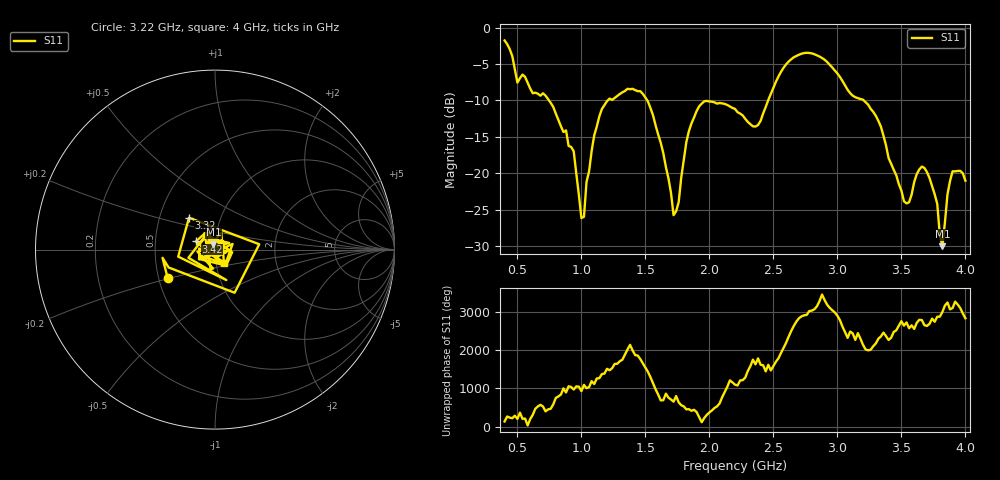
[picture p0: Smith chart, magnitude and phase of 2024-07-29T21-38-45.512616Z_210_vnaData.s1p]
!Created with skrf (http://scikit-rf.org).
# Hz S RI R 50.0
!freq ReS11 ImS11
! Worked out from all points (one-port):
!   181 points, 400 MHz to 4 GHz, reference 50 ohm
!   lowest |S11| = -30.0 dB at 3.82 GHz (marker M1), VSWR 1.07, Z = 49.1 + j2.98 ohm
!   |S11| at or under -10 dB: 747.2 MHz to 1.205 GHz (458.1 MHz wide, 46.9 % of centre); 1.515 GHz to 2.459 GHz (943.9 MHz wide, 47.5 % of centre); 3.207 GHz to end of sweep
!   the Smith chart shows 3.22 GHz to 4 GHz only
!   S11 on the Smith chart (normalised r, x): 3.22 GHz: 0.56, -0.20; 3.32 GHz: 0.71, +0.26; 3.42 GHz: 0.80, +0.07; 4 GHz: 1.09, -0.16
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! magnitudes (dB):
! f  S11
! 400 MHz  -1.8
! 500 MHz  -7.5
! 860 MHz  -14.3
! 940 MHz  -17.0
! 1 GHz  -26.2
! 1.02 GHz  -26.0
! 1.04 GHz  -21.2
! 1.14 GHz  -12.2
! 1.3 GHz  -9.1
! 1.52 GHz  -10.1
! 1.72 GHz  -25.8
! 1.76 GHz  -24.0
! 1.82 GHz  -15.7
! 1.92 GHz  -10.8
! 2.2 GHz  -11.2
! 2.38 GHz  -13.4
! 2.66 GHz  -4.1
! 2.88 GHz  -4.2
! 3.1 GHz  -9.0
! 3.22 GHz  -10.2
! 3.32 GHz  -12.8
! 3.42 GHz  -18.7
! 3.56 GHz  -24.0
! 3.68 GHz  -19.3
! 3.78 GHz  -24.2
! 3.82 GHz  -30.0
! 3.9 GHz  -19.7
! 4 GHz  -21.0
